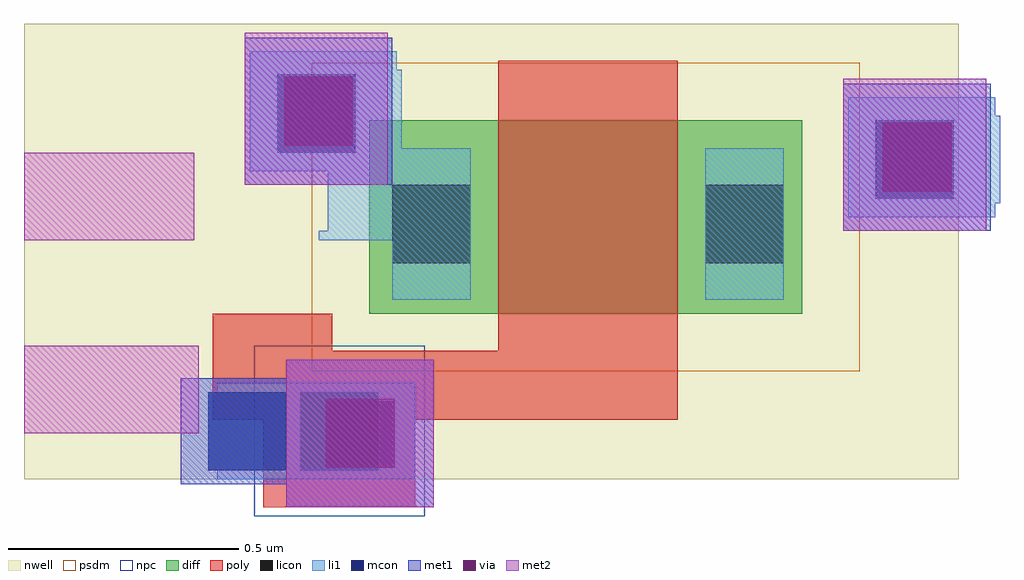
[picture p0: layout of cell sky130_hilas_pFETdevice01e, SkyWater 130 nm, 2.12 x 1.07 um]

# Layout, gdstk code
from math import pi, radians
import gdstk
lib = gdstk.Library(unit=1e-6, precision=1e-09)
def R(c, l, rs):  # rectangles x0, y0, x1, y1
    for r in rs: c.add(gdstk.rectangle(r[:2], r[2:], *l))
nwell = (64, 20)
diff = (65, 20)
poly = (66, 20)
licon = (66, 44)
li1 = (67, 20)
mcon = (67, 44)
met1 = (68, 20)
via = (68, 44)
met2 = (69, 20)
psdm = (94, 20)
npc = (95, 20)

sky130_hilas_poly2m2 = lib.new_cell('sky130_hilas_poly2m2')
R(sky130_hilas_poly2m2, poly, [(0,0.18,0.33,0.51)])
R(sky130_hilas_poly2m2, licon, [(0.08,0.26,0.25,0.43)])
R(sky130_hilas_poly2m2, li1, [(0.08,0.06,0.25,0.08), (0.06,0.08,0.27,0.51)])
R(sky130_hilas_poly2m2, mcon, [(0.08,0.06,0.25,0.23)])
R(sky130_hilas_poly2m2, met1, [(0.05,0,0.28,0.23), (0.01,0.23,0.33,0.55)])
R(sky130_hilas_poly2m2, via, [(0.095,0.315,0.245,0.465)])
R(sky130_hilas_poly2m2, met2, [(0.01,0.23,0.33,0.55)])
R(sky130_hilas_poly2m2, npc, [(-0.02,0.16,0.35,0.53)])

sky130_hilas_li2m2 = lib.new_cell('sky130_hilas_li2m2')
R(sky130_hilas_li2m2, li1, [(0.01,0.03,0.33,0.06), (0.01,0.06,0.34,0.25), (0.01,0.25,0.33,0.29)])
R(sky130_hilas_li2m2, mcon, [(0.07,0.07,0.24,0.24)])
R(sky130_hilas_li2m2, met1, [(0,0,0.32,0.32)])
R(sky130_hilas_li2m2, via, [(0.085,0.085,0.235,0.235)])
R(sky130_hilas_li2m2, met2, [(0,0,0.31,0.33)])

sky130_hilas_pfetdevice0 = lib.new_cell('sky130_hilas_pFETdevice01e')
R(sky130_hilas_pfetdevice0, nwell, [(0,0.06,2.03,1.05)])
R(sky130_hilas_pfetdevice0, diff, [(0.75,0.42,1.69,0.84)])
R(sky130_hilas_pfetdevice0, poly, [(0.41,0.19,1.42,0.34), (0.41,0.34,0.67,0.42), (1.03,0.34,1.42,0.97)])
R(sky130_hilas_pfetdevice0, licon, [(0.8,0.53,0.97,0.7), (1.48,0.53,1.65,0.7)])
R(sky130_hilas_pfetdevice0, li1, [(0.8,0.45,0.97,0.58), (1.48,0.45,1.65,0.78), (0.64,0.58,0.97,0.6), (0.66,0.6,0.97,0.78)])
R(sky130_hilas_pfetdevice0, met2, [(0,0.16,0.38,0.35), (0,0.58,0.37,0.77)])
R(sky130_hilas_pfetdevice0, psdm, [(0.625,0.295,1.815,0.965)])
sky130_hilas_pfetdevice0.add(gdstk.Reference(sky130_hilas_poly2m2, (0.34,0.33), rotation=3*pi/2))
sky130_hilas_pfetdevice0.add(gdstk.Reference(sky130_hilas_li2m2, (0.48,0.7)))
sky130_hilas_pfetdevice0.add(gdstk.Reference(sky130_hilas_li2m2, (1.78,0.6)))

lib.write_gds('sky130_hilas_pFETdevice01e.gds')
